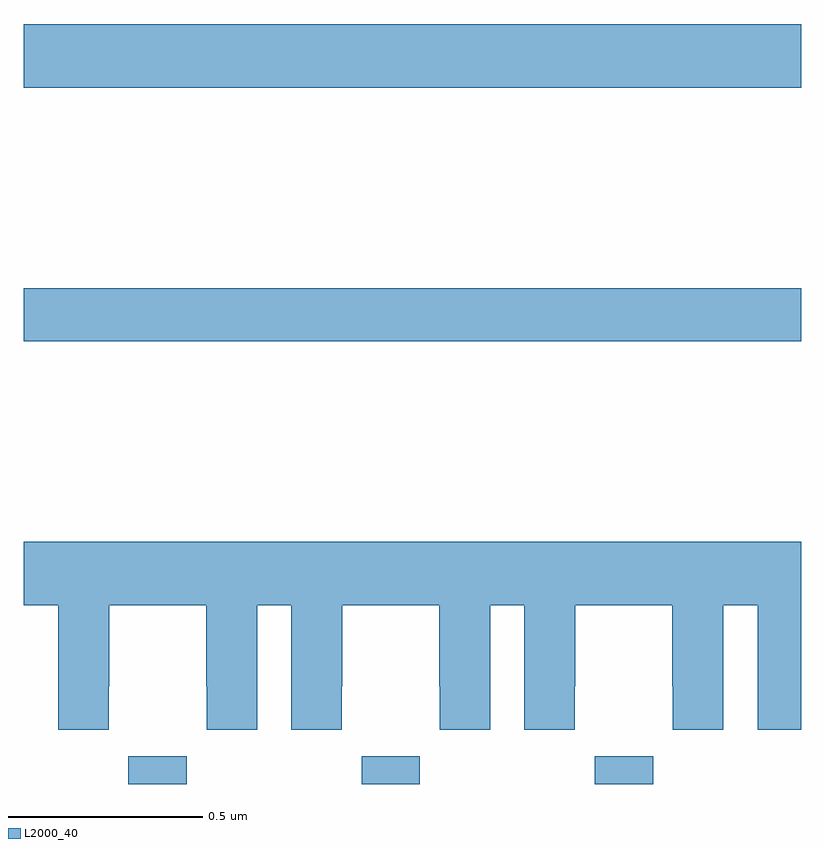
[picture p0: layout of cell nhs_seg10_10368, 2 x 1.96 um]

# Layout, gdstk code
import gdstk
lib = gdstk.Library(unit=1e-6, precision=1e-09)
def R(c, l, rs):  # rectangles x0, y0, x1, y1
    for r in rs: c.add(gdstk.rectangle(r[:2], r[2:], *l))
def A(c, l, x, y, w, h, nx, ny, dx, dy):  # array of equal rectangles
    R(c, l, [(x+i*dx, y+j*dy, x+i*dx+w, y+j*dy+h) for i in range(nx) for j in range(ny)])
def P(c, l, *ps):  # polygons
    for p in ps: c.add(gdstk.Polygon(p, *l))
L2000_40 = (2000, 40)

nhs_seg10_10368 = lib.new_cell('nhs_seg10_10368')
A(nhs_seg10_10368, L2000_40, 241.269, 1322.5, 0.15, 0.072, 3, 1, 0.6, 0)
R(nhs_seg10_10368, L2000_40, [(241,1323.64,243,1323.776), (241,1324.292,243,1324.456)])
P(nhs_seg10_10368, L2000_40, [(241.218,1322.752),(241.219,1322.752),(241.219,1322.96),(241.469,1322.96),(241.469,1322.752),(241.47,1322.752),(241.47,1322.64),(241.6,1322.64),(241.6,1322.96),(241.688,1322.96),(241.688,1322.64),(241.818,1322.64),(241.818,1322.752),(241.819,1322.752),(241.819,1322.96),(242.069,1322.96),(242.069,1322.752),(242.07,1322.752),(242.07,1322.64),(242.2,1322.64),(242.2,1322.96),(242.288,1322.96),(242.288,1322.64),(242.418,1322.64),(242.418,1322.752),(242.419,1322.752),(242.419,1322.96),(242.669,1322.96),(242.669,1322.752),(242.67,1322.752),(242.67,1322.64),(242.8,1322.64),(242.8,1322.96),(242.888,1322.96),(242.888,1322.64),(243,1322.64),(243,1323.124),(241,1323.124),(241,1322.96),(241.088,1322.96),(241.088,1322.64),(241.218,1322.64)])

lib.write_gds('nhs_seg10_10368.gds')
